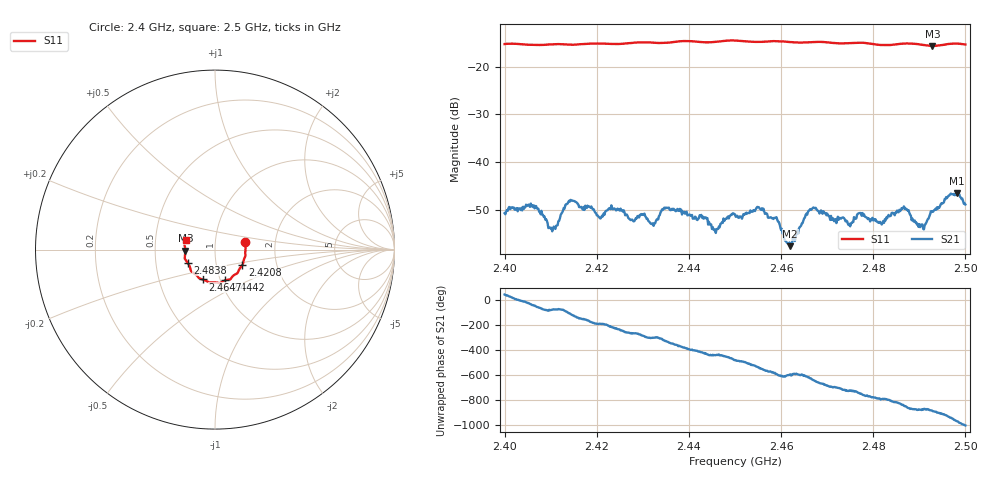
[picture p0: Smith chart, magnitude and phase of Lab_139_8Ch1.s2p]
# Hz S RI R 50
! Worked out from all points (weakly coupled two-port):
!   601 points, 2.4 GHz to 2.5 GHz, reference 50 ohm
!   highest |S21| = -46.48 dB at 2.4982 GHz (marker M1); lowest = -57.6 dB at 2.462 GHz (marker M2)
!   lowest |S11| = -15.6 dB at 2.4928 GHz (marker M3), VSWR 1.40, Z = 35.8 - j0.374 ohm
!   |S11| at or under -10 dB: start of sweep to end of sweep
!   S12 and S22 are empty: the file has one direction only
!   S11 on the Smith chart (normalised r, x): 2.4 GHz: 1.40, +0.12; 2.4208 GHz: 1.33, -0.24; 2.4442 GHz: 1.05, -0.37; 2.4647 GHz: 0.83, -0.29; 2.4838 GHz: 0.73, -0.11; 2.5 GHz: 0.72, +0.08
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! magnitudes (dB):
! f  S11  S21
! 2.4 GHz  -15.2  -50.7
! 2.4062 GHz  -15.4  -49.4
! 2.4105 GHz  -15.3  -53.9
! 2.4138 GHz  -15.4  -48.4
! 2.4167 GHz  -15.3  -49.4
! 2.4208 GHz  -15.1  -51.8
! 2.4333 GHz  -15.0  -52.0
! 2.4442 GHz  -14.9  -53.1
! 2.4458 GHz  -14.8  -54.9
! 2.45 GHz  -14.5  -51.0
! 2.4557 GHz  -14.8  -50.0
! 2.462 GHz  -14.8  -57.6
! 2.4647 GHz  -14.9  -52.8
! 2.4667 GHz  -14.8  -49.9
! 2.475 GHz  -15.0  -53.5
! 2.4833 GHz  -15.5  -51.1
! 2.4838 GHz  -15.4  -51.2
! 2.487 GHz  -15.1  -49.7
! 2.4907 GHz  -15.4  -53.1
! 2.4928 GHz  -15.6  -50.3
! 2.4982 GHz  -15.1  -46.5
! 2.5 GHz  -15.3  -48.9
